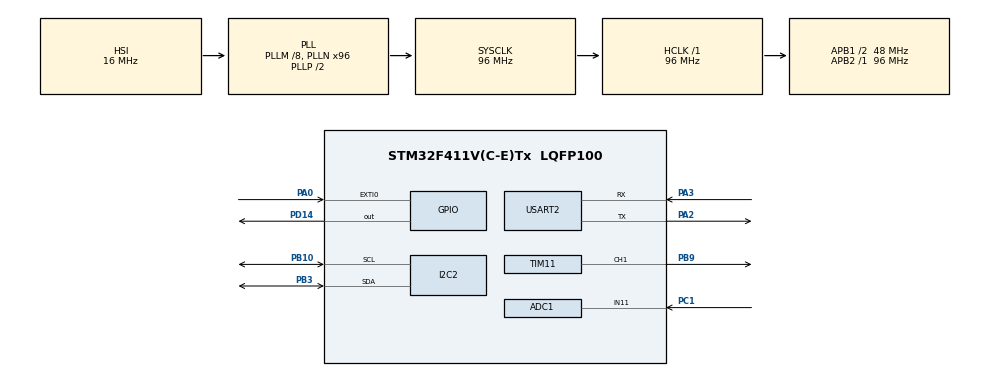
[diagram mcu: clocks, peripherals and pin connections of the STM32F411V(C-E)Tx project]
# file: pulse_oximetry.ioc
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ADC1.Channel-0\#ChannelRegularConversion=ADC_CHANNEL_11
ADC1.ContinuousConvMode=ENABLE
ADC1.DMAContinuousRequests=DISABLE
ADC1.ExternalTrigConv=ADC_EXTERNALTRIGCONV_T2_TRGO
ADC1.NbrOfConversionFlag=1
ADC1.Rank-0\#ChannelRegularConversion=1
ADC1.SamplingTime-0\#ChannelRegularConversion=ADC_SAMPLETIME_3CYCLES
ADC1.master=1
Dma.I2C2_TX.0.Direction=DMA_MEMORY_TO_PERIPH
Dma.I2C2_TX.0.FIFOMode=DMA_FIFOMODE_DISABLE
Dma.I2C2_TX.0.Instance=DMA1_Stream7
Dma.I2C2_TX.0.MemDataAlignment=DMA_MDATAALIGN_BYTE
Dma.I2C2_TX.0.MemInc=DMA_MINC_ENABLE
Dma.I2C2_TX.0.Mode=DMA_NORMAL
Dma.I2C2_TX.0.PeriphDataAlignment=DMA_PDATAALIGN_BYTE
Dma.I2C2_TX.0.PeriphInc=DMA_PINC_DISABLE
Dma.I2C2_TX.0.Priority=DMA_PRIORITY_LOW
Dma.Request0=I2C2_TX
Dma.Request1=USART2_RX
Dma.USART2_RX.1.Direction=DMA_PERIPH_TO_MEMORY
Dma.USART2_RX.1.FIFOMode=DMA_FIFOMODE_DISABLE
Dma.USART2_RX.1.Instance=DMA1_Stream5
Dma.USART2_RX.1.MemDataAlignment=DMA_MDATAALIGN_BYTE
Dma.USART2_RX.1.MemInc=DMA_MINC_ENABLE
Dma.USART2_RX.1.Mode=DMA_CIRCULAR
Dma.USART2_RX.1.PeriphDataAlignment=DMA_PDATAALIGN_BYTE
Dma.USART2_RX.1.PeriphInc=DMA_PINC_DISABLE
Dma.USART2_RX.1.Priority=DMA_PRIORITY_LOW
Mcu.Family=STM32F4
Mcu.Name=STM32F411V(C-E)Tx
Mcu.Package=LQFP100
NVIC.ADC_IRQn=true\:0\:0\:false\:false\:true\:true\:true\:true
NVIC.DMA1_Stream5_IRQn=true\:0\:0\:false\:false\:true\:false\:true\:true
NVIC.DMA1_Stream7_IRQn=true\:0\:0\:false\:false\:true\:false\:true\:true
NVIC.EXTI0_IRQn=true\:0\:0\:false\:false\:true\:true\:true\:true
NVIC.PriorityGroup=NVIC_PRIORITYGROUP_4
NVIC.TIM2_IRQn=true\:0\:0\:false\:false\:true\:true\:true\:true
NVIC.TIM3_IRQn=true\:0\:0\:false\:false\:true\:true\:true\:true
NVIC.TIM5_IRQn=true\:0\:0\:false\:false\:true\:true\:true\:true
NVIC.USART2_IRQn=true\:0\:0\:false\:false\:true\:true\:true\:true
PA0-WKUP.GPIO_ModeDefaultEXTI=GPIO_MODE_IT_RISING_FALLING
PA0-WKUP.Signal=GPXTI0
PA13.Mode=Serial_Wire
PA13.Signal=SYS_JTMS-SWDIO
PA14.Mode=Serial_Wire
PA14.Signal=SYS_JTCK-SWCLK
PA2.Mode=Asynchronous
PA2.Signal=USART2_TX
PA3.Mode=Asynchronous
PA3.Signal=USART2_RX
PB10.Mode=I2C
PB10.Signal=I2C2_SCL
PB3.Mode=I2C
PB3.Signal=I2C2_SDA
PB9.Signal=S_TIM11_CH1
PC1.Signal=ADCx_IN11
PD14.Signal=GPIO_Output
PH0\ -\ OSC_IN.Mode=HSE-External-Oscillator
PH0\ -\ OSC_IN.Signal=RCC_OSC_IN
PH1\ -\ OSC_OUT.Mode=HSE-External-Oscillator
PH1\ -\ OSC_OUT.Signal=RCC_OSC_OUT
ProjectManager.HeapSize=0x800
ProjectManager.StackSize=0x800
ProjectManager.TargetToolchain=CMake
RCC.48MHZClocksFreq_Value=48000000
RCC.AHBFreq_Value=96000000
RCC.APB1CLKDivider=RCC_HCLK_DIV2
RCC.APB1Freq_Value=48000000
RCC.APB1TimFreq_Value=96000000
RCC.APB2Freq_Value=96000000
RCC.APB2TimFreq_Value=96000000
RCC.CortexFreq_Value=96000000
RCC.HCLKFreq_Value=96000000
RCC.HSE_VALUE=8000000
RCC.HSI_VALUE=16000000
RCC.LSE_VALUE=32768
RCC.PLLM=8
RCC.PLLN=96
RCC.SYSCLKFreq_VALUE=96000000
RCC.SYSCLKSource=RCC_SYSCLKSOURCE_PLLCLK
RCC.VCOOutputFreq_Value=192000000
SH.ADCx_IN11.0=ADC1_IN11,IN11
SH.S_TIM11_CH1.0=TIM11_CH1,PWM Generation1 CH1
STMicroelectronics.X-CUBE-AI.10.0.0.ActivationBufferSizeList=55264
STMicroelectronics.X-CUBE-AI.10.0.0.ActivationBuffers=pool0
STMicroelectronics.X-CUBE-AI.10.0.0.ActivationNames=pool0
STMicroelectronics.X-CUBE-AI.10.0.0.ActivationSizes=AI_PEAK_DETECTION_MODEL_DATA_ACTIVATION_1_SIZE
STMicroelectronics.X-CUBE-AI.10.0.0.HeapSize=0x800
STMicroelectronics.X-CUBE-AI.10.0.0.InternalRamActivationBufferMaxSize=AI_PEAK_DETECTION_MODEL_DATA_ACTIVATIONS_SIZE
STMicroelectronics.X-CUBE-AI.10.0.0.LatestDirectoryUsed-c710ea5c37f1dea866da4ef7140b4cfb1564eba10d3b7cf40d9f68eed59f085a=D\:\\capstone_project\\heart_rate_measure\\dataset_100hz_result\\model
STMicroelectronics.X-CUBE-AI.10.0.0.MaximumNumberOfInputLayer=1
STMicroelectronics.X-CUBE-AI.10.0.0.MaximumNumberOfOutputLayer=1
STMicroelectronics.X-CUBE-AI.10.0.0.MaximumSizeOfInputLayer=1
STMicroelectronics.X-CUBE-AI.10.0.0.MaximumSizeOfOutputLayer=1
STMicroelectronics.X-CUBE-AI.10.0.0.ModelActualCompression-c710ea5c37f1dea866da4ef7140b4cfb1564eba10d3b7cf40d9f68eed59f085a=0.0
STMicroelectronics.X-CUBE-AI.10.0.0.ModelCompression-c710ea5c37f1dea866da4ef7140b4cfb1564eba10d3b7cf40d9f68eed59f085a=None
STMicroelectronics.X-CUBE-AI.10.0.0.ModelFlashOccupation-c710ea5c37f1dea866da4ef7140b4cfb1564eba10d3b7cf40d9f68eed59f085a=78964
STMicroelectronics.X-CUBE-AI.10.0.0.ModelHashList=c710ea5c37f1dea866da4ef7140b4cfb1564eba10d3b7cf40d9f68eed59f085a
STMicroelectronics.X-CUBE-AI.10.0.0.ModelKind-c710ea5c37f1dea866da4ef7140b4cfb1564eba10d3b7cf40d9f68eed59f085a=TFLITE
STMicroelectronics.X-CUBE-AI.10.0.0.ModelMacc-c710ea5c37f1dea866da4ef7140b4cfb1564eba10d3b7cf40d9f68eed59f085a=4596421
STMicroelectronics.X-CUBE-AI.10.0.0.ModelName-c710ea5c37f1dea866da4ef7140b4cfb1564eba10d3b7cf40d9f68eed59f085a=peak_detection_model
STMicroelectronics.X-CUBE-AI.10.0.0.ModelNameList=peak_detection_model
STMicroelectronics.X-CUBE-AI.10.0.0.ModelRamOccupation-c710ea5c37f1dea866da4ef7140b4cfb1564eba10d3b7cf40d9f68eed59f085a=55264
STMicroelectronics.X-CUBE-AI.10.0.0.ModelStructureFile-c710ea5c37f1dea866da4ef7140b4cfb1564eba10d3b7cf40d9f68eed59f085a=D\:\\capstone_project\\heart_rate_measure\\dataset_100hz_result\\model\\dilated_cnn_peak_detection_model.tflite
STMicroelectronics.X-CUBE-AI.10.0.0.ModelType-c710ea5c37f1dea866da4ef7140b4cfb1564eba10d3b7cf40d9f68eed59f085a=STM32Cube.AI MCU runtime
STMicroelectronics.X-CUBE-AI.10.0.0.ReadyForCodeGeneration=true
STMicroelectronics.X-CUBE-AI.10.0.0.StackSize=0x800
STMicroelectronics.X-CUBE-AI.10.0.0.WorkingBufferStartAddrList=0xFFFFFFFF
STMicroelectronics.X-CUBE-AI.10.0.0.XAaCUBEAaAICcArtificialOoIntelligenceJjCore=true
STMicroelectronics.X-CUBE-AI.10.0.0.copyWeightToRam=false
STMicroelectronics.X-CUBE-AI.10.0.0.customLayerConfigEnabled=false
STMicroelectronics.X-CUBE-AI.10.0.0.noOnnxIoTranspose=false
STMicroelectronics.X-CUBE-AI.10.0.0.useInputAllocation=true
STMicroelectronics.X-CUBE-AI.10.0.0.useOutputAllocation=true
TIM11.Channel=TIM_CHANNEL_1
TIM11.Period=1000
TIM11.Pulse=500
TIM2.Period=19999
TIM2.Prescaler=95
TIM2.TIM_MasterOutputTrigger=TIM_TRGO_UPDATE
TIM3.Period=9999
TIM3.Prescaler=95
TIM5.Period=95999999
TIM5.Prescaler=9
USART2.VirtualMode=VM_ASYNC
VP_STMicroelectronics.X-CUBE-AI_VS_ArtificialOoIntelligenceJjXAaCUBEAaAI_10.0.0.Mode=ArtificialOoIntelligenceJjXAaCUBEAaAI
VP_TIM11_VS_ClockSourceINT.Mode=Enable_Timer
VP_TIM2_VS_ClockSourceINT.Mode=Internal
VP_TIM3_VS_ClockSourceINT.Mode=Internal
VP_TIM5_VS_ClockSourceINT.Mode=Internal
board=custom

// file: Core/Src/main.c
/* USER CODE BEGIN Header */
/**
 ******************************************************************************
 * @file           : main.c
 * @brief          : Main program body
 ******************************************************************************
 * @attention
 *
 * Copyright (c) 2024 STMicroelectronics.
 * All rights reserved.
 *
 * This software is licensed under terms that can be found in the LICENSE file
 * in the root directory of this software component.
 * If no LICENSE file comes with this software, it is provided AS-IS.
 *
 ******************************************************************************
 */
/* USER CODE END Header */
#include "main.h"

/* USER CODE BEGIN Includes */
#include "sys_manage.h"
/* USER CODE END Includes */

/* USER CODE BEGIN PD */
// Set sampling rate at 100Hz
#define PRESCALER_SAMPLING_RATE   (959U)
#define AUTORELOAD_SAMPLING_RATE  (999U)
#define BUTTON_ACTIVE_LEVEL       (1)
/* USER CODE END PD */

ADC_HandleTypeDef hadc1;

I2C_HandleTypeDef hi2c2;
DMA_HandleTypeDef hdma_i2c2_tx;

TIM_HandleTypeDef htim2;
TIM_HandleTypeDef htim3;
TIM_HandleTypeDef htim5;
TIM_HandleTypeDef htim11;

UART_HandleTypeDef huart2;
DMA_HandleTypeDef hdma_usart2_rx;

/* USER CODE BEGIN PV */
uint8_t display_buffer[1024];
double filtered_data[SYS_MEASURE_MAX_SAMPLES_PROCESS + 1];
/* USER CODE END PV */

void SystemClock_Config(void);
static void MX_GPIO_Init(void);
static void MX_DMA_Init(void);
static void MX_ADC1_Init(void);
static void MX_TIM2_Init(void);
static void MX_I2C2_Init(void);
static void MX_TIM11_Init(void);
static void MX_USART2_UART_Init(void);
static void MX_TIM5_Init(void);
static void MX_TIM3_Init(void);

int main(void)
{

  /* MCU Configuration--------------------------------------------------------*/

  /* Reset of all peripherals, Initializes the Flash interface and the Systick. */
  HAL_Init();

  /* Configure the system clock */
  SystemClock_Config();

  /* Initialize all configured peripherals */
  MX_GPIO_Init();
  MX_DMA_Init();
  MX_ADC1_Init();
  MX_TIM2_Init();
  MX_I2C2_Init();
  MX_TIM11_Init();
  MX_USART2_UART_Init();
  MX_TIM5_Init();
  MX_TIM3_Init();
  /* USER CODE BEGIN 2 */
  sys_manage_start_protocol(&huart2);
  sys_manage_start_button(&htim3, GPIOA, GPIO_PIN_0, BUTTON_ACTIVE_LEVEL);
  sys_manage_start_display(&hi2c2, display_buffer);
  sys_manage_start_rtc(&hi2c2);
  sys_manage_start_measure(&hadc1, &htim2, PRESCALER_SAMPLING_RATE, AUTORELOAD_SAMPLING_RATE, filtered_data);
  sys_manage_start_storage();
  sys_manage_start_buzzer(&htim11, TIM_CHANNEL_1);
  sys_manage_start(&htim5);
  /* USER CODE END 2 */

  /* Infinite loop */
  while (1)
  {

    /* USER CODE BEGIN 3 */
    sys_manage_loop();
  }
  /* USER CODE END 3 */
}

void SystemClock_Config(void)
{
  RCC_OscInitTypeDef RCC_OscInitStruct = {0};
  RCC_ClkInitTypeDef RCC_ClkInitStruct = {0};

  /** Configure the main internal regulator output voltage
  */
  __HAL_RCC_PWR_CLK_ENABLE();
  __HAL_PWR_VOLTAGESCALING_CONFIG(PWR_REGULATOR_VOLTAGE_SCALE1);

  /** Initializes the RCC Oscillators according to the specified parameters
  * in the RCC_OscInitTypeDef structure.
  */
  RCC_OscInitStruct.OscillatorType = RCC_OSCILLATORTYPE_HSI;
  RCC_OscInitStruct.HSIState = RCC_HSI_ON;
  RCC_OscInitStruct.HSICalibrationValue = RCC_HSICALIBRATION_DEFAULT;
  RCC_OscInitStruct.PLL.PLLState = RCC_PLL_ON;
  RCC_OscInitStruct.PLL.PLLSource = RCC_PLLSOURCE_HSI;
  RCC_OscInitStruct.PLL.PLLM = 8;
  RCC_OscInitStruct.PLL.PLLN = 96;
  RCC_OscInitStruct.PLL.PLLP = RCC_PLLP_DIV2;
  RCC_OscInitStruct.PLL.PLLQ = 4;
  if (HAL_RCC_OscConfig(&RCC_OscInitStruct) != HAL_OK)
  {
    Error_Handler();
  }

  /** Initializes the CPU, AHB and APB buses clocks
  */
  RCC_ClkInitStruct.ClockType = RCC_CLOCKTYPE_HCLK|RCC_CLOCKTYPE_SYSCLK
                              |RCC_CLOCKTYPE_PCLK1|RCC_CLOCKTYPE_PCLK2;
  RCC_ClkInitStruct.SYSCLKSource = RCC_SYSCLKSOURCE_PLLCLK;
  RCC_ClkInitStruct.AHBCLKDivider = RCC_SYSCLK_DIV1;
  RCC_ClkInitStruct.APB1CLKDivider = RCC_HCLK_DIV2;
  RCC_ClkInitStruct.APB2CLKDivider = RCC_HCLK_DIV1;

  if (HAL_RCC_ClockConfig(&RCC_ClkInitStruct, FLASH_LATENCY_3) != HAL_OK)
  {
    Error_Handler();
  }
}

static void MX_ADC1_Init(void)
{

  ADC_ChannelConfTypeDef sConfig = {0};

  /** Configure the global features of the ADC (Clock, Resolution, Data Alignment and number of conversion)
  */
  hadc1.Instance = ADC1;
  hadc1.Init.ClockPrescaler = ADC_CLOCK_SYNC_PCLK_DIV4;
  hadc1.Init.Resolution = ADC_RESOLUTION_12B;
  hadc1.Init.ScanConvMode = DISABLE;
  hadc1.Init.ContinuousConvMode = ENABLE;
  hadc1.Init.DiscontinuousConvMode = DISABLE;
  hadc1.Init.ExternalTrigConvEdge = ADC_EXTERNALTRIGCONVEDGE_RISING;
  hadc1.Init.ExternalTrigConv = ADC_EXTERNALTRIGCONV_T2_TRGO;
  hadc1.Init.DataAlign = ADC_DATAALIGN_RIGHT;
  hadc1.Init.NbrOfConversion = 1;
  hadc1.Init.DMAContinuousRequests = DISABLE;
  hadc1.Init.EOCSelection = ADC_EOC_SINGLE_CONV;
  if (HAL_ADC_Init(&hadc1) != HAL_OK)
  {
    Error_Handler();
  }

  /** Configure for the selected ADC regular channel its corresponding rank in the sequencer and its sample time.
  */
  sConfig.Channel = ADC_CHANNEL_11;
  sConfig.Rank = 1;
  sConfig.SamplingTime = ADC_SAMPLETIME_3CYCLES;
  if (HAL_ADC_ConfigChannel(&hadc1, &sConfig) != HAL_OK)
  {
    Error_Handler();
  }

}

static void MX_I2C2_Init(void)
{

  hi2c2.Instance = I2C2;
  hi2c2.Init.ClockSpeed = 100000;
  hi2c2.Init.DutyCycle = I2C_DUTYCYCLE_2;
  hi2c2.Init.OwnAddress1 = 0;
  hi2c2.Init.AddressingMode = I2C_ADDRESSINGMODE_7BIT;
  hi2c2.Init.DualAddressMode = I2C_DUALADDRESS_DISABLE;
  hi2c2.Init.OwnAddress2 = 0;
  hi2c2.Init.GeneralCallMode = I2C_GENERALCALL_DISABLE;
  hi2c2.Init.NoStretchMode = I2C_NOSTRETCH_DISABLE;
  if (HAL_I2C_Init(&hi2c2) != HAL_OK)
  {
    Error_Handler();
  }

}

static void MX_TIM2_Init(void)
{

  TIM_ClockConfigTypeDef sClockSourceConfig = {0};
  TIM_MasterConfigTypeDef sMasterConfig = {0};

  htim2.Instance = TIM2;
  htim2.Init.Prescaler = 95;
  htim2.Init.CounterMode = TIM_COUNTERMODE_UP;
  htim2.Init.Period = 19999;
  htim2.Init.ClockDivision = TIM_CLOCKDIVISION_DIV1;
  htim2.Init.AutoReloadPreload = TIM_AUTORELOAD_PRELOAD_DISABLE;
  if (HAL_TIM_Base_Init(&htim2) != HAL_OK)
  {
    Error_Handler();
  }
  sClockSourceConfig.ClockSource = TIM_CLOCKSOURCE_INTERNAL;
  if (HAL_TIM_ConfigClockSource(&htim2, &sClockSourceConfig) != HAL_OK)
  {
    Error_Handler();
  }
  sMasterConfig.MasterOutputTrigger = TIM_TRGO_UPDATE;
  sMasterConfig.MasterSlaveMode = TIM_MASTERSLAVEMODE_DISABLE;
  if (HAL_TIMEx_MasterConfigSynchronization(&htim2, &sMasterConfig) != HAL_OK)
  {
    Error_Handler();
  }

}

static void MX_TIM3_Init(void)
{

  TIM_ClockConfigTypeDef sClockSourceConfig = {0};
  TIM_MasterConfigTypeDef sMasterConfig = {0};

  htim3.Instance = TIM3;
  htim3.Init.Prescaler = 95;
  htim3.Init.CounterMode = TIM_COUNTERMODE_UP;
  htim3.Init.Period = 9999;
  htim3.Init.ClockDivision = TIM_CLOCKDIVISION_DIV1;
  htim3.Init.AutoReloadPreload = TIM_AUTORELOAD_PRELOAD_DISABLE;
  if (HAL_TIM_Base_Init(&htim3) != HAL_OK)
  {
    Error_Handler();
  }
  sClockSourceConfig.ClockSource = TIM_CLOCKSOURCE_INTERNAL;
  if (HAL_TIM_ConfigClockSource(&htim3, &sClockSourceConfig) != HAL_OK)
  {
    Error_Handler();
  }
  sMasterConfig.MasterOutputTrigger = TIM_TRGO_RESET;
  sMasterConfig.MasterSlaveMode = TIM_MASTERSLAVEMODE_DISABLE;
  if (HAL_TIMEx_MasterConfigSynchronization(&htim3, &sMasterConfig) != HAL_OK)
  {
    Error_Handler();
  }

}

static void MX_TIM5_Init(void)
{

  TIM_ClockConfigTypeDef sClockSourceConfig = {0};
  TIM_MasterConfigTypeDef sMasterConfig = {0};

  htim5.Instance = TIM5;
  htim5.Init.Prescaler = 9;
  htim5.Init.CounterMode = TIM_COUNTERMODE_UP;
  htim5.Init.Period = 95999999;
  htim5.Init.ClockDivision = TIM_CLOCKDIVISION_DIV1;
  htim5.Init.AutoReloadPreload = TIM_AUTORELOAD_PRELOAD_DISABLE;
  if (HAL_TIM_Base_Init(&htim5) != HAL_OK)
  {
    Error_Handler();
  }
  sClockSourceConfig.ClockSource = TIM_CLOCKSOURCE_INTERNAL;
  if (HAL_TIM_ConfigClockSource(&htim5, &sClockSourceConfig) != HAL_OK)
  {
    Error_Handler();
  }
  sMasterConfig.MasterOutputTrigger = TIM_TRGO_RESET;
  sMasterConfig.MasterSlaveMode = TIM_MASTERSLAVEMODE_DISABLE;
  if (HAL_TIMEx_MasterConfigSynchronization(&htim5, &sMasterConfig) != HAL_OK)
  {
    Error_Handler();
  }

}

static void MX_TIM11_Init(void)
{

  TIM_OC_InitTypeDef sConfigOC = {0};

  htim11.Instance = TIM11;
  htim11.Init.Prescaler = 0;
  htim11.Init.CounterMode = TIM_COUNTERMODE_UP;
  htim11.Init.Period = 1000;
  htim11.Init.ClockDivision = TIM_CLOCKDIVISION_DIV1;
  htim11.Init.AutoReloadPreload = TIM_AUTORELOAD_PRELOAD_DISABLE;
  if (HAL_TIM_Base_Init(&htim11) != HAL_OK)
  {
    Error_Handler();
  }
  if (HAL_TIM_PWM_Init(&htim11) != HAL_OK)
  {
    Error_Handler();
  }
  sConfigOC.OCMode = TIM_OCMODE_PWM1;
  sConfigOC.Pulse = 500;
  sConfigOC.OCPolarity = TIM_OCPOLARITY_HIGH;
  sConfigOC.OCFastMode = TIM_OCFAST_DISABLE;
  if (HAL_TIM_PWM_ConfigChannel(&htim11, &sConfigOC, TIM_CHANNEL_1) != HAL_OK)
  {
    Error_Handler();
  }
  HAL_TIM_MspPostInit(&htim11);

}

static void MX_USART2_UART_Init(void)
{

  huart2.Instance = USART2;
  huart2.Init.BaudRate = 115200;
  huart2.Init.WordLength = UART_WORDLENGTH_8B;
  huart2.Init.StopBits = UART_STOPBITS_1;
  huart2.Init.Parity = UART_PARITY_NONE;
  huart2.Init.Mode = UART_MODE_TX_RX;
  huart2.Init.HwFlowCtl = UART_HWCONTROL_NONE;
  huart2.Init.OverSampling = UART_OVERSAMPLING_16;
  if (HAL_UART_Init(&huart2) != HAL_OK)
  {
    Error_Handler();
  }

}

static void MX_DMA_Init(void)
{

  /* DMA controller clock enable */
  __HAL_RCC_DMA1_CLK_ENABLE();

  /* DMA interrupt init */
  /* DMA1_Stream5_IRQn interrupt configuration */
  HAL_NVIC_SetPriority(DMA1_Stream5_IRQn, 0, 0);
  HAL_NVIC_EnableIRQ(DMA1_Stream5_IRQn);
  /* DMA1_Stream7_IRQn interrupt configuration */
  HAL_NVIC_SetPriority(DMA1_Stream7_IRQn, 0, 0);
  HAL_NVIC_EnableIRQ(DMA1_Stream7_IRQn);

}

static void MX_GPIO_Init(void)
{
  GPIO_InitTypeDef GPIO_InitStruct = {0};

  /* GPIO Ports Clock Enable */
  __HAL_RCC_GPIOH_CLK_ENABLE();
  __HAL_RCC_GPIOC_CLK_ENABLE();
  __HAL_RCC_GPIOA_CLK_ENABLE();
  __HAL_RCC_GPIOB_CLK_ENABLE();
  __HAL_RCC_GPIOD_CLK_ENABLE();

  /*Configure GPIO pin Output Level */
  HAL_GPIO_WritePin(GPIOD, GPIO_PIN_14, GPIO_PIN_RESET);

  /*Configure GPIO pin : PA0 */
  GPIO_InitStruct.Pin = GPIO_PIN_0;
  GPIO_InitStruct.Mode = GPIO_MODE_IT_RISING_FALLING;
  GPIO_InitStruct.Pull = GPIO_NOPULL;
  HAL_GPIO_Init(GPIOA, &GPIO_InitStruct);

  /*Configure GPIO pin : PD14 */
  GPIO_InitStruct.Pin = GPIO_PIN_14;
  GPIO_InitStruct.Mode = GPIO_MODE_OUTPUT_PP;
  GPIO_InitStruct.Pull = GPIO_NOPULL;
  GPIO_InitStruct.Speed = GPIO_SPEED_FREQ_LOW;
  HAL_GPIO_Init(GPIOD, &GPIO_InitStruct);

  /* EXTI interrupt init*/
  HAL_NVIC_SetPriority(EXTI0_IRQn, 0, 0);
  HAL_NVIC_EnableIRQ(EXTI0_IRQn);

}

void Error_Handler(void)
{
  __disable_irq();
  while (1)
  {
  }
}
